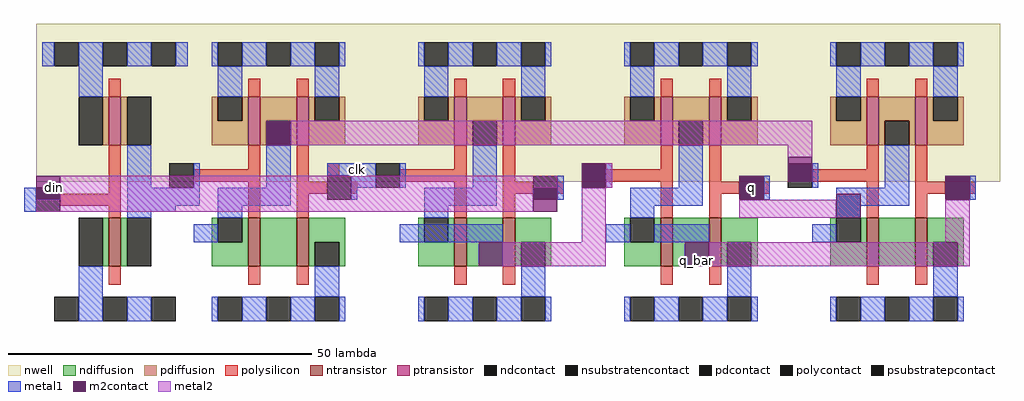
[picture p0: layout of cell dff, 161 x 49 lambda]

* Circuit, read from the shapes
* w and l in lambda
.subckt dff clk din gnd! q q_bar vdd!
M1 nand1_0/a din gnd! gnd! nfet w=8 l=2
M2 n1 nand1_0/a nand1_3/a gnd! nfet w=8 l=2
M3 gnd! clk n1 gnd! nfet w=8 l=2
M4 n2 clk nand1_2/a gnd! nfet w=8 l=2
M5 gnd! din n2 gnd! nfet w=8 l=2
M6 n3 nand1_2/a q_bar gnd! nfet w=8 l=2
M7 gnd! q n3 gnd! nfet w=8 l=2
M8 n4 nand1_3/a q gnd! nfet w=8 l=2
M9 gnd! q_bar n4 gnd! nfet w=8 l=2
M10 nand1_0/a din vdd! vdd! pfet w=8 l=2
M11 nand1_3/a nand1_0/a vdd! vdd! pfet w=8 l=2
M12 vdd! clk nand1_3/a vdd! pfet w=8 l=2
M13 nand1_2/a clk vdd! vdd! pfet w=8 l=2
M14 vdd! din nand1_2/a vdd! pfet w=8 l=2
M15 q_bar nand1_2/a vdd! vdd! pfet w=8 l=2
M16 vdd! q q_bar vdd! pfet w=8 l=2
M17 q nand1_3/a vdd! vdd! pfet w=8 l=2
M18 vdd! q_bar q vdd! pfet w=8 l=2
.ends

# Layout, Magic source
magic
tech min2
<< polysilicon >>
rect 50 24 52 26
<< metal1 >>
rect 50 24 58 26
rect 54 23 58 24
rect 55 22 58 23
rect 25 19 29 22
rect 66 13 79 16
rect 104 13 113 16
<< m2contact >>
rect 40 29 44 33
rect 2 20 6 24
rect 92 22 96 26
rect 84 18 88 22
rect 118 20 122 24
rect 126 23 130 27
rect 134 17 138 21
rect 152 20 156 24
rect 75 9 79 13
rect 109 9 113 13
<< metal2 >>
rect 44 29 130 33
rect 126 27 130 29
rect 6 22 88 24
rect 6 20 84 22
rect 2 18 84 20
rect 96 22 97 26
rect 92 13 96 22
rect 118 17 134 20
rect 152 13 156 20
rect 79 9 96 13
rect 113 9 156 13
use inv2  inv2_0
transform 1 0 3 0 1 23
box -3 -23 25 26
use nand1  nand1_0
transform 1 0 29 0 1 15
box -5 -15 30 34
use nand1  nand1_1
transform 1 0 63 0 1 15
box -5 -15 30 34
use nand1  nand1_2
transform 1 0 97 0 1 15
box -5 -15 30 34
use nand1  nand1_3
transform 1 0 131 0 1 15
box -5 -15 30 34
<< labels >>
rlabel m2contact 5 22 5 22 3 din
rlabel metal1 55 25 55 25 1 clk
rlabel m2contact 111 10 111 10 1 q_bar
rlabel m2contact 120 22 120 22 1 q
<< end >>

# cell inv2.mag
magic
tech min2
<< nwell >>
rect -1 0 25 26
<< ntransistor >>
rect 11 -14 13 -6
<< ptransistor >>
rect 11 6 13 14
<< ndiffusion >>
rect 10 -14 11 -6
rect 13 -14 14 -6
<< pdiffusion >>
rect 10 6 11 14
rect 13 6 14 14
<< ndcontact >>
rect 6 -14 10 -6
rect 14 -14 18 -6
<< pdcontact >>
rect 6 6 10 14
rect 14 6 18 14
<< psubstratepcontact >>
rect 2 -23 6 -19
rect 10 -23 14 -19
rect 18 -23 22 -19
<< nsubstratencontact >>
rect 2 19 6 23
rect 10 19 14 23
rect 18 19 22 23
<< polysilicon >>
rect 11 14 13 17
rect 11 -2 13 6
rect 3 -4 13 -2
rect 11 -6 13 -4
rect 11 -17 13 -14
<< polycontact >>
rect -1 -5 3 -1
<< metal1 >>
rect 0 19 2 23
rect 6 14 10 23
rect 14 19 18 23
rect 22 19 24 23
rect 14 -1 18 6
rect -3 -5 -1 -1
rect 14 -5 22 -1
rect 14 -6 18 -5
rect 6 -23 10 -14
rect 14 -23 18 -19
<< labels >>
rlabel metal1 -3 -5 -3 -1 3 in
rlabel metal1 22 -5 22 -1 7 out
rlabel metal1 15 -22 15 -22 1 gnd!
rlabel metal1 23 20 23 20 7 vdd!
<< end >>

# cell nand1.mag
magic
tech min2
<< nwell >>
rect -4 8 30 34
<< ntransistor >>
rect 8 -6 10 2
rect 16 -6 18 2
<< ptransistor >>
rect 8 14 10 22
rect 16 14 18 22
<< ndiffusion >>
rect 2 -2 3 2
rect 7 -2 8 2
rect 2 -6 8 -2
rect 10 -6 16 2
rect 18 -2 24 2
rect 18 -6 19 -2
rect 23 -6 24 -2
<< pdiffusion >>
rect 2 18 3 22
rect 7 18 8 22
rect 2 14 8 18
rect 10 18 16 22
rect 10 14 11 18
rect 15 14 16 18
rect 18 18 19 22
rect 23 18 24 22
rect 18 14 24 18
<< ndcontact >>
rect 3 -2 7 2
rect 19 -6 23 -2
<< pdcontact >>
rect 3 18 7 22
rect 11 14 15 18
rect 19 18 23 22
<< psubstratepcontact >>
rect 3 -15 7 -11
rect 11 -15 15 -11
rect 19 -15 23 -11
<< nsubstratencontact >>
rect 3 27 7 31
rect 11 27 15 31
rect 19 27 23 31
<< polysilicon >>
rect 8 22 10 25
rect 16 22 18 25
rect 8 10 10 14
rect -1 8 10 10
rect 8 2 10 8
rect 16 8 18 14
rect 16 6 21 8
rect 16 2 18 6
rect 25 6 26 8
rect 8 -9 10 -6
rect 16 -9 18 -6
<< polycontact >>
rect -5 7 -1 11
rect 21 5 25 9
<< metal1 >>
rect 2 27 3 31
rect 7 27 11 31
rect 15 27 19 31
rect 23 27 24 31
rect 3 22 7 27
rect 19 22 23 27
rect -1 7 0 11
rect 11 7 15 14
rect 3 4 15 7
rect 25 5 26 9
rect 3 2 7 4
rect -1 -2 3 1
rect 19 -11 23 -6
rect 2 -15 3 -11
rect 7 -15 11 -11
rect 15 -15 19 -11
rect 23 -15 24 -11
<< labels >>
rlabel polysilicon 9 3 9 3 1 a
rlabel polysilicon 17 3 17 3 1 b
rlabel metal1 12 6 12 6 1 out
rlabel metal1 18 29 18 29 5 vdd!
rlabel metal1 17 -13 17 -13 1 gnd!
<< end >>
